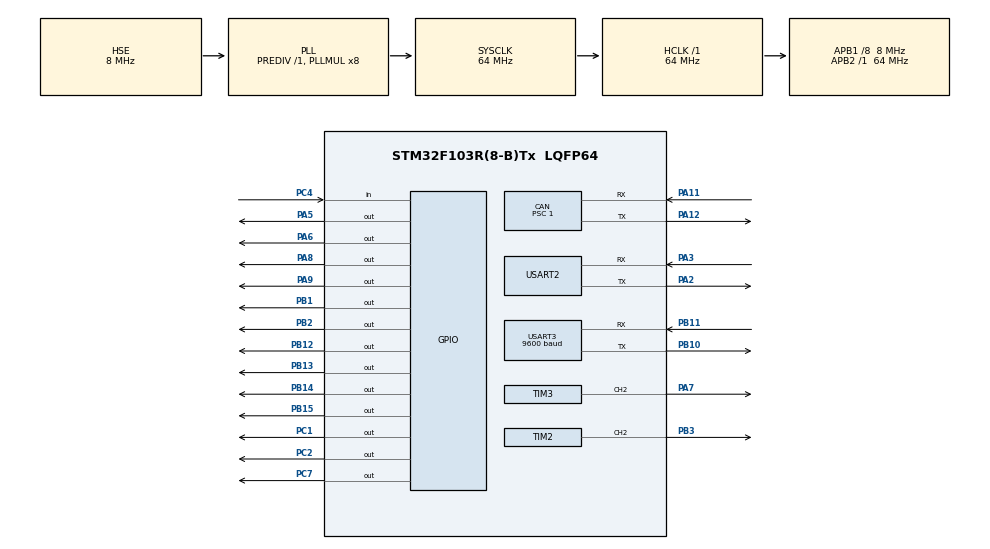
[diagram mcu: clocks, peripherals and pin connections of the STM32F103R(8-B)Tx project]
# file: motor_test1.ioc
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CAN.BS1=CAN_BS1_13TQ
CAN.BS2=CAN_BS2_2TQ
CAN.CalculateBaudRate=500000
CAN.CalculateTimeBit=2000
CAN.CalculateTimeQuantum=125.0
CAN.Prescaler=1
Mcu.Family=STM32F1
Mcu.Name=STM32F103R(8-B)Tx
Mcu.Package=LQFP64
NVIC.CAN1_RX1_IRQn=true\:0\:0\:false\:false\:true\:true\:true\:true
NVIC.PriorityGroup=NVIC_PRIORITYGROUP_4
NVIC.TIM4_IRQn=true\:0\:0\:false\:false\:true\:true\:true\:true
NVIC.USB_HP_CAN1_TX_IRQn=true\:0\:0\:false\:false\:true\:true\:true\:true
NVIC.USB_LP_CAN1_RX0_IRQn=true\:0\:0\:false\:false\:true\:true\:true\:true
PA11.Mode=CAN_Activate
PA11.Signal=CAN_RX
PA12.Mode=CAN_Activate
PA12.Signal=CAN_TX
PA13.Mode=Serial_Wire
PA13.Signal=SYS_JTMS-SWDIO
PA14.Mode=Serial_Wire
PA14.Signal=SYS_JTCK-SWCLK
PA2.GPIO_Speed=GPIO_SPEED_FREQ_LOW
PA2.Mode=Asynchronous
PA2.Signal=USART2_TX
PA3.Mode=Asynchronous
PA3.Signal=USART2_RX
PA5.Signal=GPIO_Output
PA6.Signal=GPIO_Output
PA7.Signal=S_TIM3_CH2
PA8.PinState=GPIO_PIN_SET
PA8.Signal=GPIO_Output
PA9.Signal=GPIO_Output
PB1.Signal=GPIO_Output
PB10.Mode=Asynchronous
PB10.Signal=USART3_TX
PB11.Mode=Asynchronous
PB11.Signal=USART3_RX
PB12.Signal=GPIO_Output
PB13.Signal=GPIO_Output
PB14.Signal=GPIO_Output
PB15.Signal=GPIO_Output
PB2.Signal=GPIO_Output
PB3.Signal=S_TIM2_CH2
PC1.Signal=GPIO_Output
PC14-OSC32_IN.Mode=LSE-External-Oscillator
PC14-OSC32_IN.Signal=RCC_OSC32_IN
PC15-OSC32_OUT.Mode=LSE-External-Oscillator
PC15-OSC32_OUT.Signal=RCC_OSC32_OUT
PC2.Signal=GPIO_Output
PC4.Signal=GPIO_Input
PC7.Signal=GPIO_Output
PD0-OSC_IN.Mode=HSE-External-Clock-Source
PD0-OSC_IN.Signal=RCC_OSC_IN
PD1-OSC_OUT.Mode=HSE-External-Clock-Source
PD1-OSC_OUT.Signal=RCC_OSC_OUT
ProjectManager.HeapSize=0x200
ProjectManager.StackSize=0x400
ProjectManager.TargetToolchain=STM32CubeIDE
RCC.ADCPresc=RCC_ADCPCLK2_DIV6
RCC.AHBFreq_Value=64000000
RCC.APB1CLKDivider=RCC_HCLK_DIV8
RCC.APB1Freq_Value=8000000
RCC.APB1TimFreq_Value=16000000
RCC.APB2Freq_Value=64000000
RCC.APB2TimFreq_Value=64000000
RCC.HCLKFreq_Value=64000000
RCC.PLLMUL=RCC_PLL_MUL8
RCC.PLLSourceVirtual=RCC_PLLSOURCE_HSE
RCC.SYSCLKFreq_VALUE=64000000
RCC.SYSCLKSource=RCC_SYSCLKSOURCE_PLLCLK
RCC.USBFreq_Value=64000000
SH.S_TIM2_CH2.0=TIM2_CH2,PWM Generation2 CH2
SH.S_TIM3_CH2.0=TIM3_CH2,PWM Generation2 CH2
TIM2.Channel-PWM\ Generation2\ CH2=TIM_CHANNEL_2
TIM2.Period=999
TIM2.Prescaler=1023
TIM3.Channel-PWM\ Generation2\ CH2=TIM_CHANNEL_2
TIM3.Period=999
TIM3.Prescaler=63
TIM4.Period=999
TIM4.Prescaler=15
USART2.VirtualMode=VM_ASYNC
USART3.BaudRate=9600
USART3.VirtualMode=VM_ASYNC
VP_TIM2_VS_ClockSourceINT.Mode=Internal
VP_TIM3_VS_ClockSourceINT.Mode=Internal
VP_TIM4_VS_ClockSourceINT.Mode=Internal
board=custom

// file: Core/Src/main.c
/* USER CODE BEGIN Header */
/**
 ******************************************************************************
 * @file           : main.c
 * @brief          : Main program body
 ******************************************************************************
 * @attention
 *
 * Copyright (c) 2025 STMicroelectronics.
 * All rights reserved.
 *
 * This software is licensed under terms that can be found in the LICENSE file
 * in the root directory of this software component.
 * If no LICENSE file comes with this software, it is provided AS-IS.
 *
 ******************************************************************************
 */
/* USER CODE END Header */
#include "main.h"
#include "can.h"
#include "tim.h"
#include "usart.h"
#include "gpio.h"

/* USER CODE BEGIN Includes */
#include <stdio.h>
#include "DFPlayer.h"
#include "hvac.h"
#include "window.h"
#include "sunroof.h"
#include "STM_LCD16X2.h"
#include "LCD_Logic.h"
#include "Common_def.h"

/* USER CODE END Includes */

/* USER CODE BEGIN PD */
#define MOTOR_SHIELD_IN_PIN GPIO_PIN_8 // 예: PA0 핀
#define MOTOR_SHIELD_IN_PORT GPIOA

/* USER CODE END PD */

/* USER CODE BEGIN PM */
void AppScheduling(void);
void AppTask1ms(void);
void AppTask10ms(void);
void AppTask100ms(void);
void AppTask1000ms(void);

typedef struct
{
    uint32_t u32nuCnt1ms;
    uint32_t u32nuCnt10ms;
    uint32_t u32nuCnt100ms;
    uint32_t u32nuCnt1000ms;

} Taskcnt;

uint8_t actuator_power = 0;  //시동 켜지면 1

Taskcnt stTestCnt;

/* USER CODE END PM */

/* USER CODE BEGIN PV */
int _write(int file, char *ptr, int len) {
	HAL_UART_Transmit(&huart2, (uint8_t*) ptr, (uint16_t) len, 100);

	return (len);
}

/* USER CODE END PV */

void SystemClock_Config(void);

int main(void)
{

  /* MCU Configuration--------------------------------------------------------*/

  /* Reset of all peripherals, Initializes the Flash interface and the Systick. */
  HAL_Init();

  /* Configure the system clock */
  SystemClock_Config();

  /* Initialize all configured peripherals */
  MX_GPIO_Init();
  MX_TIM3_Init();
  MX_TIM2_Init();
  MX_CAN_Init();
  MX_USART2_UART_Init();
  MX_USART3_UART_Init();
  MX_TIM4_Init();
  /* USER CODE BEGIN 2 */
	HAL_TIM_Base_Start_IT(&htim4);//sub timer 1sec
	DF_Init(20);
	//Send_cmd(0x03, 0x00, 1);
	//HAL_Delay(10000);

    Sound_Track(13);

  /* USER CODE END 2 */

  /* Infinite loop */
  /* USER CODE BEGIN WHILE */

	set_can_filter();

	//CAN
	start_can();
	initCanDB();

	//LCD
	init_LCD();
	init_vehicle_state();

	Window_Init();
	Sunroof_Init();
	__HAL_TIM_SET_COMPARE(&htim2, TIM_CHANNEL_2, 0);

	printf("Start\r\n");

	while (1) {
		AppScheduling();

		//
	      if (db_msg.driver_window.B.Flag == 1)
	      {
	    	  override_flag_win=1;
	    	  db_msg.driver_window.B.Flag = 0;
	          override_win=db_msg.driver_window.B.driver_window;
       // 처리 로직 예시

	      }
		//721
		  if (db_msg.driver_sunroof.B.Flag == 1)
		  {
			  override_flag_sun=1;
			  db_msg.driver_sunroof.B.Flag = 0;
			  override_sun = db_msg.driver_sunroof.B.driver_sunroof;
			// 처리 로직 예시

		  }
		  // 724
		  if (db_msg.driver_heater.B.Flag == 1)
		  {
			  db_msg.driver_heater.B.Flag = 0;
			  if (actuator_power == 1)
				  driver_heater(db_msg.driver_heater.B.driver_heater);
		  }
		  // 725
		  if (db_msg.driver_air.B.Flag == 1)
		  {
			  db_msg.driver_air.B.Flag = 0;
			  if (actuator_power == 1)
				  driver_ac(db_msg.driver_air.B.driver_air);
		  }
		  // 726 시동
		  if (db_msg.driver_engine.B.Flag == 1)
		  {
			  db_msg.driver_engine.B.Flag = 0;

			  // 시동 OFF
			  if (db_msg.driver_engine.B.engine_mode == ENGINE_OFF)
			  {
				  off_heater();
				  off_ac();
				  actuator_power = 0;
			  }
			  // 저전력
			  else if (db_msg.driver_engine.B.engine_mode == UTILITY)
			  {
				  actuator_power = 1;

			  }
			  // 시동 ON
			  else if (db_msg.driver_engine.B.engine_mode == DRIVING)
			  {
				  actuator_power = 1;
			  }

		  }
			if (db_msg.driver_control.B.Flag == 1)
			{
				db_msg.driver_control.B.Flag = 0;
				car_mode=db_msg.driver_control.B.mode_smart; //0이면 스마트제어모드 on 1이면 off

				// 처리 로직 예시
			}
//		// 748
//		if (db_msg.light.B.Flag == 1)
//		{
//			db_msg.light.B.Flag == 0;
//			// 처리 로직 예시
//		}
			// 732
			if (db_msg.smart_window.B.Flag == 1)
			{
				db_msg.smart_window.B.Flag = 0;
				motor1_smart_flag=1;
				motor1_smart=db_msg.smart_window.B.motor1_smart_state;
				motor1_smart_pct=db_msg.smart_window.B.motor1_state;
	//			// 처리 로직 예시
			}
			// 731
			if (db_msg.smart_sunroof.B.Flag == 1)
			{
				db_msg.smart_sunroof.B.Flag = 0;
				motor2_smart_flag=1;
				motor2_smart=db_msg.smart_sunroof.B.motor2_smart_state;
				// 처리 로직 예시
			}
		// 734
		if (db_msg.smart_heater.B.Flag == 1)
		{
			db_msg.smart_heater.B.Flag = 0;
			//printf("heater %d\r\n",db_msg.smart_heater.B.Heater_state);
			if (actuator_power == 1)
				smart_heater(db_msg.smart_heater.B.Heater_state);
		}
		// 735
		if (db_msg.smart_ac.B.Flag == 1)
		{
			db_msg.smart_ac.B.Flag = 0;
			if (actuator_power == 1)
				smart_ac(db_msg.smart_ac.B.Air_state);
		}

		//		// 733
		if (db_msg.smart_audio.B.Flag == 1)
		{
			db_msg.smart_audio.B.Flag = 0;
			printf("audio : %d \r\n",db_msg.smart_audio.B.Audio_file);
			audio_num=db_msg.smart_audio.B.Audio_file;
			checkState_DF();
			if(audio_state==2){
				Sound_Track(audio_num);
			}
//			// 처리 로직 예시
		}
//		// 712
		if (db_msg.safety_window.B.Flag == 1)
		{
			db_msg.safety_window.B.Flag = 0;
			safety_win_flag=1;

			safety_win=db_msg.safety_window.B.motor1_smart_state;

		}
//		// 711
		if (db_msg.safety_sunroof.B.Flag == 1)
		{
			safety_sun_flag=1;
			db_msg.safety_sunroof.B.Flag = 0;
			// 처리 로직 예시
	        saftey_sun=db_msg.safety_sunroof.B.motor2_smart_state;
		}

    /* USER CODE END WHILE */

	}
}

void SystemClock_Config(void)
{
  RCC_OscInitTypeDef RCC_OscInitStruct = {0};
  RCC_ClkInitTypeDef RCC_ClkInitStruct = {0};

  /** Initializes the RCC Oscillators according to the specified parameters
  * in the RCC_OscInitTypeDef structure.
  */
  RCC_OscInitStruct.OscillatorType = RCC_OSCILLATORTYPE_HSE;
  RCC_OscInitStruct.HSEState = RCC_HSE_BYPASS;
  RCC_OscInitStruct.HSEPredivValue = RCC_HSE_PREDIV_DIV1;
  RCC_OscInitStruct.HSIState = RCC_HSI_ON;
  RCC_OscInitStruct.PLL.PLLState = RCC_PLL_ON;
  RCC_OscInitStruct.PLL.PLLSource = RCC_PLLSOURCE_HSE;
  RCC_OscInitStruct.PLL.PLLMUL = RCC_PLL_MUL8;
  if (HAL_RCC_OscConfig(&RCC_OscInitStruct) != HAL_OK)
  {
    Error_Handler();
  }

  /** Initializes the CPU, AHB and APB buses clocks
  */
  RCC_ClkInitStruct.ClockType = RCC_CLOCKTYPE_HCLK|RCC_CLOCKTYPE_SYSCLK
                              |RCC_CLOCKTYPE_PCLK1|RCC_CLOCKTYPE_PCLK2;
  RCC_ClkInitStruct.SYSCLKSource = RCC_SYSCLKSOURCE_PLLCLK;
  RCC_ClkInitStruct.AHBCLKDivider = RCC_SYSCLK_DIV1;
  RCC_ClkInitStruct.APB1CLKDivider = RCC_HCLK_DIV8;
  RCC_ClkInitStruct.APB2CLKDivider = RCC_HCLK_DIV1;

  if (HAL_RCC_ClockConfig(&RCC_ClkInitStruct, FLASH_LATENCY_2) != HAL_OK)
  {
    Error_Handler();
  }
}

/* USER CODE BEGIN 4 */
void AppTask1ms(void)
{
    stTestCnt.u32nuCnt1ms++;
    {

    }
}

void AppTask10ms(void)
{
    stTestCnt.u32nuCnt10ms++;
    Window_ControlMode();
    Window_UpdateState();

    Sunroof_ControlMode();
    Sunroof_UpdateState();
    {

		//753
//		db_msg.audio.B.Audio_alive = 0;
//		db_msg.audio.B.Audio_running = 0;
//		output_message(&db_msg.audio,AUDIO_MSG_ID);

		//76F
//		db_msg.battery.B.Battery_alive = 0;
//		db_msg.battery.B.Battery_spare_state = 0;
//		db_msg.battery.B.Battery_state = 0;
//		db_msg.battery.B.Battery_use = 0;
//		output_message(&db_msg.battery,BATTERY_MSG_ID);

    }
}

void AppTask100ms(void)
{
    stTestCnt.u32nuCnt100ms++;

    {
    	db_msg.battery.B.Battery_alive = actuator_power;
    	if(actuator_power == 1){
    		db_msg.battery.B.Battery_use = 3;
    		LCD1602_display();
			update_vehicle_state();
			show_LCD();
    	}
    	else{
//    		battery_out_check();
    		LCD1602_noDisplay();
    		db_msg.battery.B.Battery_use = 0;
//    		db_msg.battery.B.Battery_state = 0;
//    		db_msg.battery.B.Battery_spare_state = 0;
    	}
    }
    {
		// 754
		db_msg.heater.B.Heater_alive = actuator_power;
		db_msg.heater.B.Heater_running = heater_led_state;
		output_message(&db_msg.heater,HEATER_MSG_ID);

		// 755
		db_msg.ac.B.AC_alive = actuator_power;
		db_msg.ac.B.AC_running = ac_led_state;
		output_message(&db_msg.ac,AIRCONDITIONER_MSG_ID);
    }

    {
		db_msg.motor1_window.B.motor1_alive = actuator_power;
		db_msg.motor1_window.B.motor1_running = running_win;
		db_msg.motor1_window.B.motor1_tick_counter = window_pulse_count;

		output_message(&db_msg.motor1_window,MOTOR1_WINDOW_MSG_ID);

		db_msg.motor2_sunroof.B.motor2_alive = actuator_power;
		db_msg.motor2_sunroof.B.motor2_running = running_sunroof;
		db_msg.motor2_sunroof.B.motor2_tick_counter = sunroof_pulse_count;

		output_message(&db_msg.motor2_sunroof,MOTOR2_SUNROOF_MSG_ID);
    }
}

void AppTask1000ms(void)
{

    stTestCnt.u32nuCnt1000ms++;
    {
    	output_message(&db_msg.battery, BATTERY_MSG_ID);
    }
    {
		db_msg.audio.B.Audio_alive = actuator_power;
		db_msg.audio.B.Audio_running = 2;
		output_message(&db_msg.audio,AUDIO_MSG_ID);

//		printf("window %ld \r\n", window_pulse_count);
//		printf("sunroof %ld \r\n",sunroof_pulse_count);

    }
}

void AppScheduling(void)
{

    if (stSchedulingInfo.u8nuScheduling1msFlag == 1u)
    {
        stSchedulingInfo.u8nuScheduling1msFlag = 0u;

        AppTask1ms();

        if (stSchedulingInfo.u8nuScheduling10msFlag == 1u)
        {
            stSchedulingInfo.u8nuScheduling10msFlag = 0u;
            AppTask10ms();
        }

        if (stSchedulingInfo.u8nuScheduling100msFlag == 1u)
        {
            stSchedulingInfo.u8nuScheduling100msFlag = 0u;
            AppTask100ms();
        }
        if (stSchedulingInfo.u8nuScheduling1000msFlag == 1u)
        {
            stSchedulingInfo.u8nuScheduling1000msFlag = 0u;
            AppTask1000ms();
        }
    }
}
/* USER CODE END 4 */

void Error_Handler(void)
{
  /* USER CODE BEGIN Error_Handler_Debug */
	/* User can add his own implementation to report the HAL error return state */
//  __disable_irq();
//  while (1)
//  {
//  }
  /* USER CODE END Error_Handler_Debug */
}
